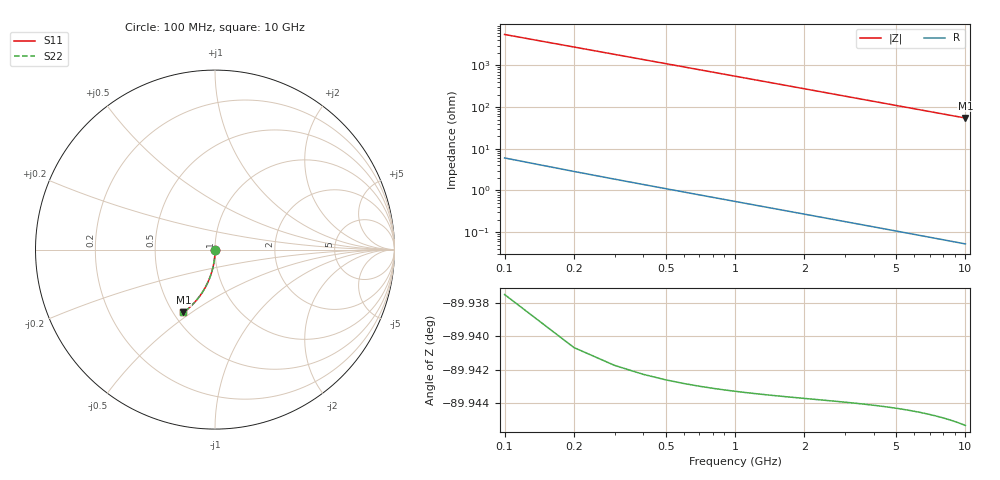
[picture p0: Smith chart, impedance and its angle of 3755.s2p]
# Hz S RI R 50.00
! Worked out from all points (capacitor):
!   100 points, 100 MHz to 10 GHz, reference 50 ohm
!   read as one part in shunt: C = 288 fF near 100 MHz
!   lowest |Z| = 54.8 ohm at 10 GHz (marker M1)
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1e8  3.76e-05 -0.00422  0.9999 -0.00482  0.9999 -0.00482  3.76e-05 -0.00422
2e8  -2.74e-05 -0.00844  0.9998 -0.00963  0.9998 -0.00963  -2.74e-05 -0.00844
3e8  -0.000133 -0.0127  0.9997 -0.0144  0.9997 -0.0144  -0.000133 -0.0127
4e8  -0.00028 -0.0169  0.9996 -0.0193  0.9996 -0.0193  -0.00028 -0.0169
5e8  -0.000467 -0.0211  0.9994 -0.0241  0.9994 -0.0241  -0.000467 -0.0211
6e8  -0.000695 -0.0253  0.9992 -0.0289  0.9992 -0.0289  -0.000695 -0.0253
7e8  -0.000964 -0.0295  0.9989 -0.0337  0.9989 -0.0337  -0.000964 -0.0295
8e8  -0.00127 -0.0338  0.9986 -0.0385  0.9986 -0.0385  -0.00127 -0.0338
9e8  -0.00162 -0.038  0.9982 -0.0433  0.9982 -0.0433  -0.00162 -0.038
1.1e9  -0.00244 -0.0464  0.9974 -0.0529  0.9974 -0.0529  -0.00244 -0.0464
1.4e9  -0.00398 -0.059  0.9959 -0.0673  0.9959 -0.0673  -0.00398 -0.059
1.8e9  -0.00659 -0.0756  0.9932 -0.0864  0.9932 -0.0864  -0.00659 -0.0756
2.1e9  -0.00897 -0.0881  0.9908 -0.1006  0.9908 -0.1006  -0.00897 -0.0881
2.5e9  -0.0127 -0.1045  0.9871 -0.1195  0.9871 -0.1195  -0.0127 -0.1045
2.9e9  -0.017 -0.1208  0.9827 -0.1381  0.9827 -0.1381  -0.017 -0.1208
3.4e9  -0.0233 -0.1408  0.9763 -0.1612  0.9763 -0.1612  -0.0233 -0.1408
4.2e9  -0.0353 -0.172  0.9642 -0.1972  0.9642 -0.1972  -0.0353 -0.172
5.1e9  -0.0514 -0.2056  0.948 -0.2363  0.948 -0.2363  -0.0514 -0.2056
5.9e9  -0.0679 -0.2339  0.9314 -0.2695  0.9314 -0.2695  -0.0679 -0.2339
6.7e9  -0.0861 -0.2605  0.9129 -0.301  0.9129 -0.301  -0.0861 -0.2605
8.4e9  -0.1299 -0.3108  0.8687 -0.3621  0.8687 -0.3621  -0.1299 -0.3108
1e10  -0.1755 -0.3501  0.8224 -0.4115  0.8224 -0.4115  -0.1755 -0.3501
